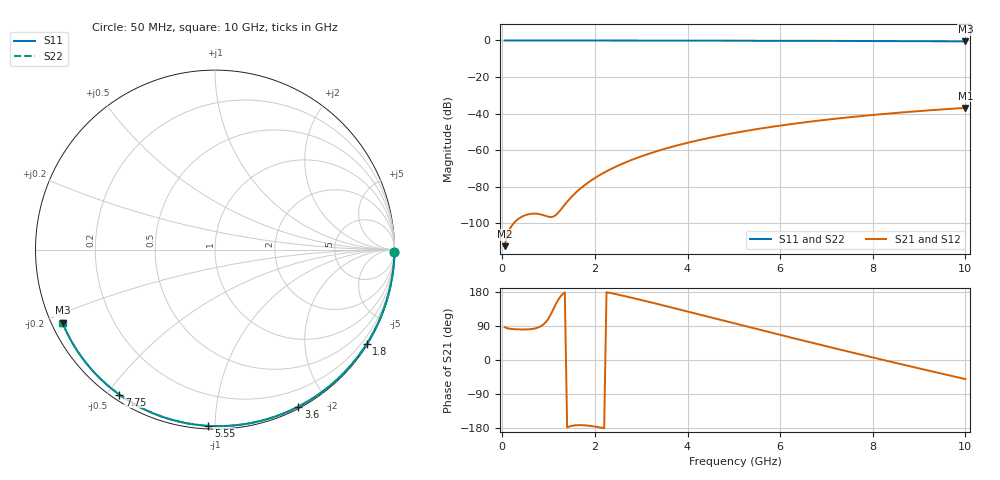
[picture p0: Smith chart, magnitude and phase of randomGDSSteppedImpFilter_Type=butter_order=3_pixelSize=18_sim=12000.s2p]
! freq	dB(S11)	phase(S11)	dB(S12)	phase(S12)
!  dB(S21)	phase(S21)	dB(S22)	phase(S22)
!S-par simulation data
#  GHz  S  DB  R 50
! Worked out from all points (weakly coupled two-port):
!   200 points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, 50 MHz to 10 GHz, reference 50 ohm
!   highest |S21| = -36.91 dB at 10 GHz (marker M1); lowest = -112.6 dB at 50 MHz (marker M2)
!   lowest |S11| = -0.5 dB at 10 GHz (marker M3), VSWR 33.62, Z = 1.56 - j11.4 ohm
!   |S11| at or under -10 dB: nowhere
!   |S22| runs from -0.5 to 0.0 dB; largest |S21 - S12| = 0
!   S11 on the Smith chart (normalised r, x): 50 MHz: open; 1.8 GHz: 0.03, -3.50; 3.6 GHz: 0.02, -1.66; 5.55 GHz: 0.02, -0.96; 7.75 GHz: 0.02, -0.54; 10 GHz: 0.03, -0.23
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0.05  -0.00 -0.9  -112.62 86.6  -112.62 86.6  -0.00 -0.9
0.45  -0.01 -8.1  -96.14 80.5  -96.14 80.5  -0.01 -8.1
0.9  -0.02 -16.1  -95.74 95.1  -95.74 95.1  -0.02 -16.1
1.7  -0.04 -30.1  -80.78 -171.9  -80.78 -171.9  -0.04 -30.1
1.75  -0.04 -31.0  -79.75 -172.1  -79.75 -172.1  -0.04 -31.0
1.8  -0.04 -31.9  -78.77 -172.6  -78.77 -172.6  -0.04 -31.9
1.95  -0.04 -34.5  -76.11 -174.7  -76.11 -174.7  -0.04 -34.5
2.1  -0.05 -37.0  -73.75 -177.6  -73.75 -177.6  -0.05 -37.0
2.3  -0.05 -40.4  -70.98 177.7  -70.98 177.7  -0.05 -40.5
2.5  -0.06 -43.8  -68.54 172.5  -68.54 172.5  -0.06 -43.8
2.9  -0.07 -50.5  -64.37 161.2  -64.37 161.2  -0.07 -50.6
3.4  -0.08 -58.8  -60.14 146.3  -60.14 146.3  -0.08 -58.8
3.6  -0.08 -62.0  -58.67 140.2  -58.67 140.2  -0.08 -62.0
4.3  -0.10 -73.1  -54.25 118.6  -54.25 118.6  -0.10 -73.2
5.05  -0.13 -84.7  -50.45 95.5  -50.45 95.5  -0.13 -84.7
5.55  -0.15 -92.2  -48.32 80.1  -48.32 80.1  -0.15 -92.2
6.1  -0.18 -100.2  -46.26 63.3  -46.26 63.3  -0.18 -100.2
6.7  -0.21 -108.8  -44.28 45.2  -44.28 45.2  -0.21 -108.8
7.75  -0.29 -123.4  -41.39 14.0  -41.39 14.0  -0.29 -123.5
8.35  -0.34 -131.7  -39.99 -3.5  -39.99 -3.5  -0.34 -131.7
9.2  -0.42 -143.3  -38.28 -27.9  -38.28 -27.9  -0.42 -143.4
10  -0.52 -154.4  -36.91 -50.4  -36.91 -50.4  -0.52 -154.4
